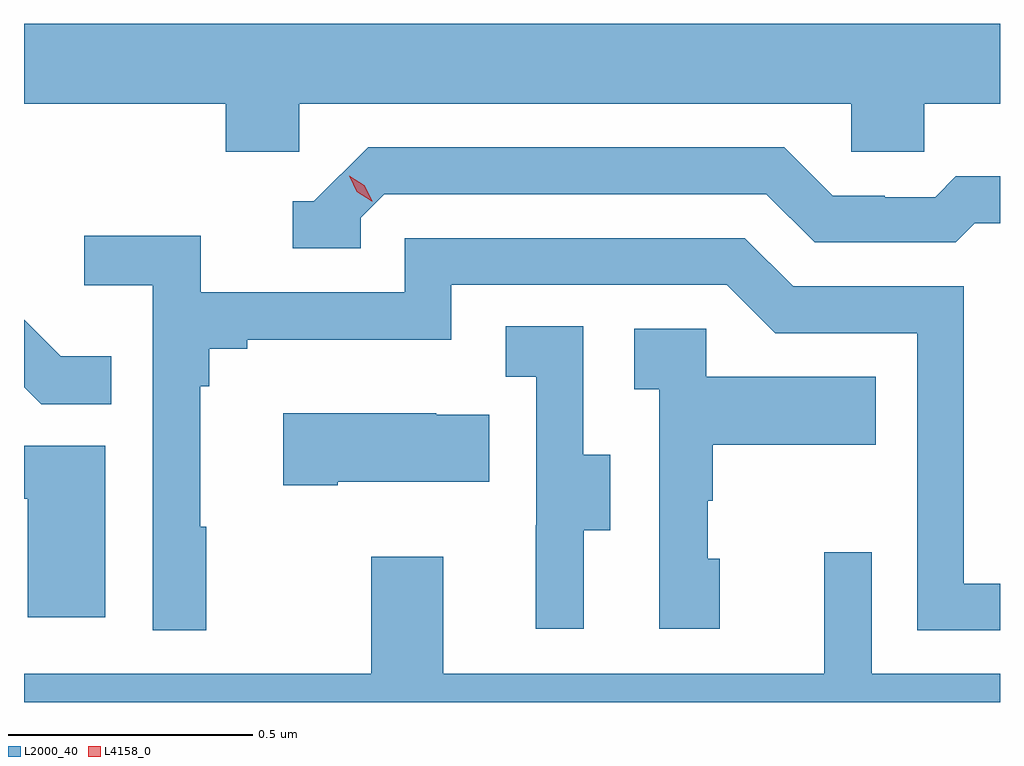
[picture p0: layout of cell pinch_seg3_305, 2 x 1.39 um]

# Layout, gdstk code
import gdstk
lib = gdstk.Library(unit=1e-6, precision=1e-09)
def P(c, l, *ps):  # polygons
    for p in ps: c.add(gdstk.Polygon(p, *l))
L2000_40 = (2000, 40)
L4158_0 = (4158, 0)

pinch_seg3_305 = lib.new_cell('pinch_seg3_305')
P(pinch_seg3_305, L2000_40, [(982.194,711.572),(983.325,711.572),(983.325,711.474),(983.475,711.474),(983.475,711.572),(983.63,711.572),(983.63,711.736),(981.63,711.736),(981.63,711.572),(982.043,711.572),(982.043,711.474),(982.194,711.474)],
  [(982.32,711.339),(982.368,711.387),(983.151,711.387),(983.25,711.288),(983.539,711.288),(983.578,711.327),(983.63,711.327),(983.63,711.424),(983.539,711.424),(983.497,711.381),(983.394,711.381),(983.394,711.384),(983.287,711.384),(983.188,711.483),(982.335,711.483),(982.224,711.372),(982.181,711.372),(982.181,711.276),(982.32,711.276)],
  [(982.003,710.705),(981.991,710.705),(981.991,710.993),(982.01,710.993),(982.01,711.07),(982.087,711.07),(982.087,711.089),(982.506,711.089),(982.506,711.201),(983.07,711.201),(983.169,711.102),(983.46,711.102),(983.46,710.493),(983.63,710.493),(983.63,710.589),(983.556,710.589),(983.556,711.198),(983.206,711.198),(983.107,711.297),(982.41,711.297),(982.41,711.186),(981.992,711.186),(981.992,711.302),(981.753,711.302),(981.753,711.2),(981.894,711.2),(981.894,710.493),(982.003,710.493)],
  [(981.809,711.055),(981.705,711.055),(981.63,711.13),(981.63,710.991),(981.665,710.956),(981.809,710.956)],
  [(982.777,710.698),(982.831,710.698),(982.831,710.853),(982.776,710.853),(982.776,711.116),(982.617,711.116),(982.617,711.013),(982.68,711.013),(982.68,710.709),(982.679,710.709),(982.679,710.496),(982.777,710.496)],
  [(983.056,710.64),(983.031,710.64),(983.031,710.759),(983.041,710.759),(983.041,710.873),(983.375,710.873),(983.375,711.013),(983.028,711.013),(983.028,711.111),(982.881,711.111),(982.881,710.987),(982.932,710.987),(982.932,710.496),(983.056,710.496)],
  [(982.273,710.798),(982.583,710.798),(982.583,710.935),(982.475,710.935),(982.475,710.938),(982.161,710.938),(982.161,710.791),(982.273,710.791)],
  [(981.796,710.871),(981.63,710.871),(981.63,710.763),(981.638,710.763),(981.638,710.52),(981.796,710.52)],
  [(983.63,710.404),(983.367,710.404),(983.367,710.653),(983.27,710.653),(983.27,710.404),(982.489,710.404),(982.489,710.644),(982.342,710.644),(982.342,710.404),(981.63,710.404),(981.63,710.346),(983.63,710.346)])
P(pinch_seg3_305, L4158_0, [(982.343,711.372),(982.312,711.392),(982.296,711.425),(982.296,711.425),(982.297,711.425),(982.327,711.405),(982.344,711.373),(982.344,711.372)])

lib.write_gds('pinch_seg3_305.gds')
